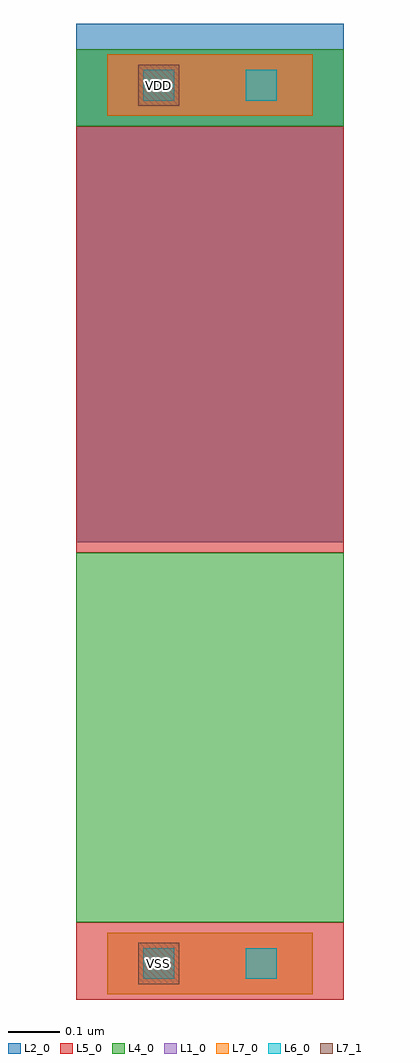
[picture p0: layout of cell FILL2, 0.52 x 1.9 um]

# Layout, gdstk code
import gdstk
lib = gdstk.Library(unit=1e-6, precision=5e-10)
def R(c, l, rs):  # rectangles x0, y0, x1, y1
    for r in rs: c.add(gdstk.rectangle(r[:2], r[2:], *l))
L1_0 = (1, 0)
L2_0 = (2, 0)
L4_0 = (4, 0)
L5_0 = (5, 0)
L6_0 = (6, 0)
L7_0 = (7, 0)
L7_1 = (7, 1)

fill2 = lib.new_cell('FILL2')
R(fill2, L1_0, [(0,-0.06,0.4,0.06), (0,1.65,0.4,1.77)])
R(fill2, L2_0, [(-0.06,0.82,0.46,1.83)])
R(fill2, L4_0, [(-0.06,0.08,0.46,0.8), (-0.06,1.63,0.46,1.78)])
R(fill2, L5_0, [(-0.06,-0.07,0.46,0.08), (-0.06,0.8,0.46,1.63)])
R(fill2, L6_0, [(0.07,-0.03,0.13,0.03), (0.27,-0.03,0.33,0.03), (0.07,1.68,0.13,1.74), (0.27,1.68,0.33,1.74)])
R(fill2, L7_0, [(0,-0.06,0.4,0.06), (0,1.65,0.4,1.77)])
R(fill2, L7_1, [(0.06,-0.04,0.14,0.04), (0.06,1.67,0.14,1.75)])
fill2.add(gdstk.Label('VSS', (0.1,0), layer=7, texttype=1))
fill2.add(gdstk.Label('VDD', (0.1,1.71), layer=7, texttype=1))
fill2.add(gdstk.Label('VDD', (0.09,1.7), layer=63, texttype=0))
fill2.add(gdstk.Label('VSS', (0.085,0), layer=63, texttype=0))

lib.write_gds('FILL2.gds')
